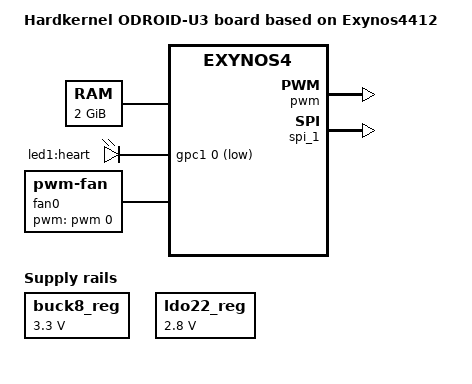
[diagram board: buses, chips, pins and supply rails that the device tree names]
// SPDX-License-Identifier: GPL-2.0
/*
 * Hardkernel's Exynos4412 based ODROID-U3 board device tree source
 *
 * Copyright (c) 2014 Marek Szyprowski <m.szyprowski@samsung.com>
 *
 * Device tree source file for Hardkernel's ODROID-U3 board which is based
 * on Samsung's Exynos4412 SoC.
 */

/dts-v1/;
#include "exynos4412-odroid-common.dtsi"
#include "exynos4412-prime.dtsi"

/ {
	model = "Hardkernel ODROID-U3 board based on Exynos4412";
	compatible = "hardkernel,odroid-u3", "samsung,exynos4412", "samsung,exynos4";

	memory@40000000 {
		device_type = "memory";
		reg = <0x40000000 0x7FF00000>;
	};

	leds {
		compatible = "gpio-leds";
		led1 {
			label = "led1:heart";
			gpios = <&gpc1 0 GPIO_ACTIVE_LOW>;
			default-state = "on";
			linux,default-trigger = "heartbeat";
		};
	};

	fan0: pwm-fan {
		compatible = "pwm-fan";
		pwms = <&pwm 0 10000 0>;
		#cooling-cells = <2>;
		cooling-levels = <0 102 170 230>;
	};

	thermal-zones {
		cpu_thermal: cpu-thermal {
			cooling-maps {
				map0 {
				     trip = <&cpu_alert1>;
				     cooling-device = <&cpu0 9 9>, <&cpu1 9 9>,
						      <&cpu2 9 9>, <&cpu3 9 9>,
						      <&fan0 1 2>;
				};
				map1 {
				     trip = <&cpu_alert2>;
				     cooling-device = <&cpu0 15 15>,
						      <&cpu1 15 15>,
						      <&cpu2 15 15>,
						      <&cpu3 15 15>,
						      <&fan0 2 3>;
				};
				map2 {
				     trip = <&cpu_alert0>;
				     cooling-device = <&fan0 0 1>;
				};
			};
		};
	};
};

&adc {
	vdd-supply = <&ldo10_reg>;
	/* Nothing connected to ADC inputs, keep it disabled */
};

/* Supply for LAN9730/SMSC95xx */
&buck8_reg {
	regulator-name = "BUCK8_P3V3";
	regulator-min-microvolt = <3300000>;
	regulator-max-microvolt = <3300000>;
};

&hdmicec {
	needs-hpd;
};

/* VDDQ for MSHC (eMMC card) */
&ldo22_reg {
	regulator-name = "LDO22_VDDQ_MMC4_2.8V";
	regulator-min-microvolt = <2800000>;
	regulator-max-microvolt = <2800000>;
};

&mshc_0 {
	vqmmc-supply = <&ldo22_reg>;
};

&pwm {
	pinctrl-0 = <&pwm0_out>;
	pinctrl-names = "default";
	samsung,pwm-outputs = <0>;
	status = "okay";
};

&usb3503 {
	clock-names = "refclk";
	clocks = <&pmu_system_controller 0>;
	refclk-frequency = <24000000>;
};

&ehci {
	port@1 {
		status = "okay";
	};
	port@2 {
		status = "okay";
	};
};

&sound {
	model = "Odroid-U3";
	samsung,audio-widgets =
		"Headphone", "Headphone Jack",
		"Speakers", "Speakers";
	samsung,audio-routing =
		"Headphone Jack", "HPL",
		"Headphone Jack", "HPR",
		"Headphone Jack", "MICBIAS",
		"IN1", "Headphone Jack",
		"Speakers", "SPKL",
		"Speakers", "SPKR";
};

&spi_1 {
	pinctrl-names = "default";
	pinctrl-0 = <&spi1_bus>;
	cs-gpios = <&gpb 5 GPIO_ACTIVE_HIGH>;
	status = "okay";
};
